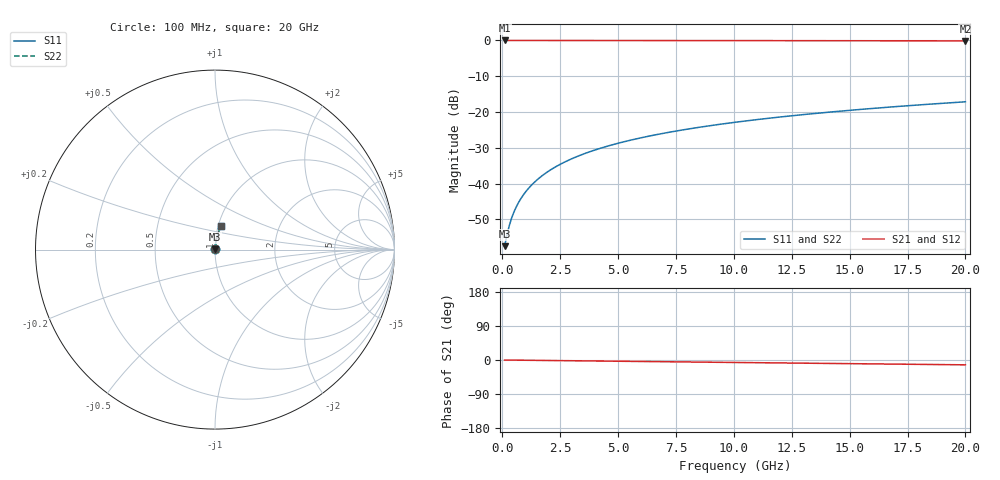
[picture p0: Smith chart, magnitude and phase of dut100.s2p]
! Touchstone file exported from HFSS 2026.1.0
!  File:  C:/ffzhzh/LocalFiles/Ansys_Project_Files/temp_train_TMRDL_100_1782982289_41620.aedt
!  Generated:  04:52:48 PM Jul  2, 2026
!  Design:  TMRDL
!  Project:  temp_train_TMRDL_100_1782982289_41620
! Variables:
!  h_bsmrdl = 2um
!  h_ox = 20um
!  h_rdl = 5um
!  h_sub = 80um
!  h_tmrdl = 5.72um
!  h_tsv = 80um
!  h_via = 3um
!  l_bsmrdl = 300um
!  l_sub = 560.83um
!  l_tmrdl = 160.83um
!  m_sub = 200um
!  pitch = 32.44um
!  r_tsv = 6um
!  s_tmrdl = 10um
!  w_bsmrdl = 18um
!  w_sub = 500um
!  w_tmrdl = 10.01um
!  x_tsv_center1 = 165.835um
!  x_tsv_center2 = 483.835um
!  x_tsv_center3 = 654.675um
!  x_tsv_center4 = 972.675um
!  x_tsv_center5 = 1143.515um
!  x_tsv_center6 = 1461.515um
# GHz S MA R 50.000000
! Terminal data exported
! Port[1] = TM_RDL1_1_T1
! Port[2] = TM_RDL1_1_T2
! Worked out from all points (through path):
!   200 points, 100 MHz to 20 GHz, reference 50 ohm
!   highest |S21| = -0.01 dB at 100 MHz (marker M1); lowest = -0.1 dB at 20 GHz (marker M2)
!   group delay of S21, straight-line fit = 1.77 ps
!   lowest |S11| = -57.5 dB at 100 MHz (marker M3), VSWR 1.00, Z = 50.1 + j0.0777 ohm
!   |S11| at or under -10 dB: start of sweep to end of sweep
!   |S22| runs from -57.5 to -17.2 dB; largest |S21 - S12| = 2.6e-15
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0.1  0.001331 35.7  0.9989 -0.1  0.9989 -0.1  0.001331 35.7
! Gamma 0 0 0 0
! Port Impedance 50 0 50 0
0.2  0.001897 54.4  0.9989 -0.1  0.9989 -0.1  0.001897 54.4
0.3  0.002564 63.7  0.9989 -0.2  0.9989 -0.2  0.002564 63.7
0.4  0.003262 69.1  0.9988 -0.3  0.9988 -0.3  0.003262 69.1
0.5  0.003973 72.5  0.9988 -0.3  0.9988 -0.3  0.003973 72.5
0.6  0.004689 74.8  0.9988 -0.4  0.9988 -0.4  0.004689 74.8
0.8  0.006133 77.9  0.9987 -0.5  0.9987 -0.5  0.006133 77.9
1.1  0.008315 80.4  0.9987 -0.7  0.9987 -0.7  0.008315 80.4
1.5  0.01124 82.1  0.9986 -1.0  0.9986 -1.0  0.01124 82.1
1.8  0.01343 82.8  0.9985 -1.2  0.9985 -1.2  0.01343 82.8
2.1  0.01563 83.3  0.9984 -1.4  0.9984 -1.4  0.01563 83.3
2.7  0.02 83.7  0.9982 -1.8  0.9982 -1.8  0.02 83.7
3.5  0.0258 83.7  0.9979 -2.3  0.9979 -2.3  0.0258 83.7
4.2  0.03083 83.6  0.9976 -2.8  0.9976 -2.8  0.03083 83.6
5  0.03653 83.3  0.9971 -3.3  0.9971 -3.3  0.03653 83.3
5.9  0.04289 82.9  0.9966 -3.9  0.9966 -3.9  0.04289 82.9
6.8  0.04921 82.5  0.9961 -4.4  0.9961 -4.4  0.04921 82.5
8.3  0.05965 81.7  0.9952 -5.4  0.9952 -5.4  0.05965 81.7
10.1  0.07206 80.8  0.994 -6.5  0.994 -6.5  0.07206 80.8
13.4  0.09459 79.0  0.9916 -8.6  0.9916 -8.6  0.09459 79.0
16.7  0.1168 77.1  0.9888 -10.7  0.9888 -10.7  0.1168 77.2
20  0.1387 75.3  0.9855 -12.8  0.9855 -12.8  0.1387 75.3
